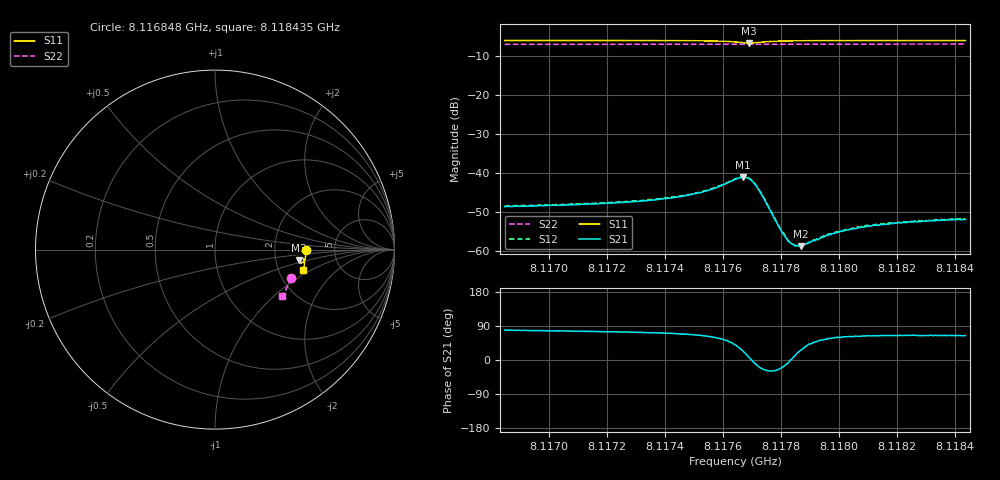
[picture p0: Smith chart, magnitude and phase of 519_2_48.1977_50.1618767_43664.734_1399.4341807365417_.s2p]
#  HZ  S  RI  R  50.00
! Rohde & Schwarz Vector Network Analyzer
! Rohde-Schwarz,ZNB20-2Port,1311601062101988,3.16
! Created: UTC 3/20/2024, 11:59:18 AM
! freq[Hz]  re:S11  im:S11  re:S21  im:S21  re:S12  im:S12  re:S22  im:S22
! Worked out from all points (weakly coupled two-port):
!   401 points, 8.116848 GHz to 8.118435 GHz, reference 50 ohm
!   highest |S21| = -41.02 dB at 8.11767 GHz (marker M1); lowest = -58.7 dB at 8.117868 GHz (marker M2)
!   lowest |S11| = -6.6 dB at 8.117689 GHz (marker M3), VSWR 2.78, Z = 135 - j20.9 ohm
!   |S11| at or under -10 dB: nowhere
!   |S22| runs from -6.9 to -6.8 dB; largest |S21 - S12| = 0.00026
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8.1168484e9  0.5067 -0.00409  0.000682 0.00366  0.000785 0.0037  0.4223 -0.1585
8.1171142e9  0.5056 -0.0249  0.000984 0.00388  0.00103 0.00392  0.4161 -0.1759
8.11738e9  0.5028 -0.0474  0.00149 0.00438  0.00154 0.00444  0.4092 -0.1932
8.1174633e9  0.5008 -0.0553  0.00186 0.00474  0.00196 0.0048  0.4068 -0.1984
8.1175268e9  0.4982 -0.0623  0.00243 0.00516  0.00255 0.00525  0.4047 -0.2026
8.1175902e9  0.4921 -0.0706  0.00379 0.00568  0.00386 0.00578  0.4026 -0.2069
8.1176418e9  0.4796 -0.0747  0.00633 0.00539  0.00649 0.0054  0.4006 -0.2099
8.1176696e9  0.4699 -0.0696  0.00815 0.00355  0.00833 0.00357  0.3995 -0.2113
8.1176894e9  0.4665 -0.0602  0.00846 0.00115  0.00864 0.00114  0.3988 -0.2121
8.1177053e9  0.4691 -0.0523  0.00758 -0.000687  0.0078 -0.000723  0.3986 -0.2127
8.1177251e9  0.4767 -0.047  0.00569 -0.0019  0.00587 -0.00198  0.3984 -0.2137
8.1177965e9  0.4948 -0.0545  0.00181 -0.000757  0.00181 -0.000796  0.397 -0.2185
8.1178203e9  0.4968 -0.0584  0.00142 -0.000246  0.00146 -0.000277  0.3963 -0.22
8.1178322e9  0.4974 -0.0603  0.00128 -3.37e-06  0.00133 -4.05e-05  0.3959 -0.2207
8.1178441e9  0.4979 -0.062  0.00119 0.000182  0.0012 0.000141  0.3956 -0.2215
8.1178679e9  0.4985 -0.0651  0.00104 0.000506  0.0011 0.00051  0.3948 -0.2232
8.1179076e9  0.4989 -0.07  0.000971 0.000941  0.000951 0.000934  0.3936 -0.2257
8.1179552e9  0.499 -0.0749  0.000909 0.00132  0.000918 0.00131  0.3921 -0.2287
8.1180226e9  0.4983 -0.0814  0.000895 0.00166  0.000922 0.00164  0.3898 -0.233
8.11809e9  0.4975 -0.0873  0.000923 0.00183  0.000954 0.00189  0.3875 -0.2373
8.1181733e9  0.4965 -0.0943  0.000977 0.00202  0.00101 0.00209  0.3847 -0.2423
8.1184351e9  0.4921 -0.1147  0.0011 0.0023  0.00115 0.00236  0.3752 -0.2582
